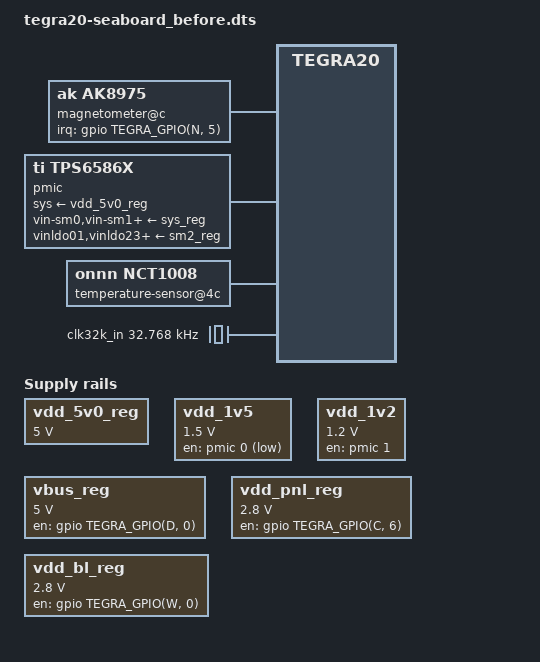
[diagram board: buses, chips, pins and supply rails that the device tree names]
	i2c@7000d000 {
		status = "okay";
		clock-frequency = <400000>;

		magnetometer@c {
			compatible = "ak,ak8975";
			reg = <0xc>;
			interrupt-parent = <&gpio>;
			interrupts = <TEGRA_GPIO(N, 5) IRQ_TYPE_LEVEL_HIGH>;
		};

		pmic: tps6586x@34 {
			compatible = "ti,tps6586x";
			reg = <0x34>;
			interrupts = <GIC_SPI 86 IRQ_TYPE_LEVEL_HIGH>;

			ti,system-power-controller;

			#gpio-cells = <2>;
			gpio-controller;

			sys-supply = <&vdd_5v0_reg>;
			vin-sm0-supply = <&sys_reg>;
			vin-sm1-supply = <&sys_reg>;
			vin-sm2-supply = <&sys_reg>;
			vinldo01-supply = <&sm2_reg>;
			vinldo23-supply = <&sm2_reg>;
			vinldo4-supply = <&sm2_reg>;
			vinldo678-supply = <&sm2_reg>;
			vinldo9-supply = <&sm2_reg>;

			regulators {
				sys_reg: sys {
					regulator-name = "vdd_sys";
					regulator-always-on;
				};

				sm0 {
					regulator-name = "vdd_sm0,vdd_core";
					regulator-min-microvolt = <1300000>;
					regulator-max-microvolt = <1300000>;
					regulator-always-on;
				};

				sm1 {
					regulator-name = "vdd_sm1,vdd_cpu";
					regulator-min-microvolt = <1125000>;
					regulator-max-microvolt = <1125000>;
					regulator-always-on;
				};

				sm2_reg: sm2 {
					regulator-name = "vdd_sm2,vin_ldo*";
					regulator-min-microvolt = <3700000>;
					regulator-max-microvolt = <3700000>;
					regulator-always-on;
				};

				/* LDO0 is not connected to anything */

				ldo1 {
					regulator-name = "vdd_ldo1,avdd_pll*";
					regulator-min-microvolt = <1100000>;
					regulator-max-microvolt = <1100000>;
					regulator-always-on;
				};

				ldo2 {
					regulator-name = "vdd_ldo2,vdd_rtc";
					regulator-min-microvolt = <1200000>;
					regulator-max-microvolt = <1200000>;
				};

				ldo3 {
					regulator-name = "vdd_ldo3,avdd_usb*";
					regulator-min-microvolt = <3300000>;
					regulator-max-microvolt = <3300000>;
					regulator-always-on;
				};

				ldo4 {
					regulator-name = "vdd_ldo4,avdd_osc,vddio_sys";
					regulator-min-microvolt = <1800000>;
					regulator-max-microvolt = <1800000>;
					regulator-always-on;
				};

				ldo5 {
					regulator-name = "vdd_ldo5,vcore_mmc";
					regulator-min-microvolt = <2850000>;
					regulator-max-microvolt = <2850000>;
					regulator-always-on;
				};

				ldo6 {
					regulator-name = "vdd_ldo6,avdd_vdac,vddio_vi,vddio_cam";
					regulator-min-microvolt = <1800000>;
					regulator-max-microvolt = <1800000>;
				};

				hdmi_vdd_reg: ldo7 {
					regulator-name = "vdd_ldo7,avdd_hdmi,vdd_fuse";
					regulator-min-microvolt = <3300000>;
					regulator-max-microvolt = <3300000>;
				};

				hdmi_pll_reg: ldo8 {
					regulator-name = "vdd_ldo8,avdd_hdmi_pll";
					regulator-min-microvolt = <1800000>;
					regulator-max-microvolt = <1800000>;
				};

				ldo9 {
					regulator-name = "vdd_ldo9,avdd_2v85,vdd_ddr_rx";
					regulator-min-microvolt = <2850000>;
					regulator-max-microvolt = <2850000>;
					regulator-always-on;
				};

				ldo_rtc {
					regulator-name = "vdd_rtc_out,vdd_cell";
					regulator-min-microvolt = <3300000>;
					regulator-max-microvolt = <3300000>;
					regulator-always-on;
				};
			};
		};

		temperature-sensor@4c {
			compatible = "onnn,nct1008";
			reg = <0x4c>;
		};
	};

	kbc@7000e200 {
		status = "okay";
		nvidia,debounce-delay-ms = <32>;
		nvidia,repeat-delay-ms = <160>;
		nvidia,ghost-filter;
		nvidia,kbc-row-pins = <0 1 2 3 4 5 6 7 8 9 10 11 12 13 14 15>;
		nvidia,kbc-col-pins = <16 17 18 19 20 21 22 23>;
		linux,keymap = <MATRIX_KEY(0x00, 0x02, KEY_W)
				MATRIX_KEY(0x00, 0x03, KEY_S)
				MATRIX_KEY(0x00, 0x04, KEY_A)
				MATRIX_KEY(0x00, 0x05, KEY_Z)
				MATRIX_KEY(0x00, 0x07, KEY_FN)

				MATRIX_KEY(0x01, 0x07, KEY_LEFTMETA)
				MATRIX_KEY(0x02, 0x06, KEY_RIGHTALT)
				MATRIX_KEY(0x02, 0x07, KEY_LEFTALT)

				MATRIX_KEY(0x03, 0x00, KEY_5)
				MATRIX_KEY(0x03, 0x01, KEY_4)
				MATRIX_KEY(0x03, 0x02, KEY_R)
				MATRIX_KEY(0x03, 0x03, KEY_E)
				MATRIX_KEY(0x03, 0x04, KEY_F)
				MATRIX_KEY(0x03, 0x05, KEY_D)
				MATRIX_KEY(0x03, 0x06, KEY_X)

				MATRIX_KEY(0x04, 0x00, KEY_7)
				MATRIX_KEY(0x04, 0x01, KEY_6)
				MATRIX_KEY(0x04, 0x02, KEY_T)
				MATRIX_KEY(0x04, 0x03, KEY_H)
				MATRIX_KEY(0x04, 0x04, KEY_G)
				MATRIX_KEY(0x04, 0x05, KEY_V)
				MATRIX_KEY(0x04, 0x06, KEY_C)
				MATRIX_KEY(0x04, 0x07, KEY_SPACE)

				MATRIX_KEY(0x05, 0x00, KEY_9)
				MATRIX_KEY(0x05, 0x01, KEY_8)
				MATRIX_KEY(0x05, 0x02, KEY_U)
				MATRIX_KEY(0x05, 0x03, KEY_Y)
				MATRIX_KEY(0x05, 0x04, KEY_J)
				MATRIX_KEY(0x05, 0x05, KEY_N)
				MATRIX_KEY(0x05, 0x06, KEY_B)
				MATRIX_KEY(0x05, 0x07, KEY_BACKSLASH)

				MATRIX_KEY(0x06, 0x00, KEY_MINUS)
				MATRIX_KEY(0x06, 0x01, KEY_0)
				MATRIX_KEY(0x06, 0x02, KEY_O)
				MATRIX_KEY(0x06, 0x03, KEY_I)
				MATRIX_KEY(0x06, 0x04, KEY_L)
				MATRIX_KEY(0x06, 0x05, KEY_K)
				MATRIX_KEY(0x06, 0x06, KEY_COMMA)
				MATRIX_KEY(0x06, 0x07, KEY_M)

				MATRIX_KEY(0x07, 0x01, KEY_EQUAL)
				MATRIX_KEY(0x07, 0x02, KEY_RIGHTBRACE)
				MATRIX_KEY(0x07, 0x03, KEY_ENTER)
				MATRIX_KEY(0x07, 0x07, KEY_MENU)

				MATRIX_KEY(0x08, 0x04, KEY_RIGHTSHIFT)
				MATRIX_KEY(0x08, 0x05, KEY_LEFTSHIFT)

				MATRIX_KEY(0x09, 0x05, KEY_RIGHTCTRL)
				MATRIX_KEY(0x09, 0x07, KEY_LEFTCTRL)

				MATRIX_KEY(0x0B, 0x00, KEY_LEFTBRACE)
				MATRIX_KEY(0x0B, 0x01, KEY_P)
				MATRIX_KEY(0x0B, 0x02, KEY_APOSTROPHE)
				MATRIX_KEY(0x0B, 0x03, KEY_SEMICOLON)
				MATRIX_KEY(0x0B, 0x04, KEY_SLASH)
				MATRIX_KEY(0x0B, 0x05, KEY_DOT)

				MATRIX_KEY(0x0C, 0x00, KEY_F10)
				MATRIX_KEY(0x0C, 0x01, KEY_F9)
				MATRIX_KEY(0x0C, 0x02, KEY_BACKSPACE)
				MATRIX_KEY(0x0C, 0x03, KEY_3)
				MATRIX_KEY(0x0C, 0x04, KEY_2)
				MATRIX_KEY(0x0C, 0x05, KEY_UP)
				MATRIX_KEY(0x0C, 0x06, KEY_PRINT)
				MATRIX_KEY(0x0C, 0x07, KEY_PAUSE)

				MATRIX_KEY(0x0D, 0x00, KEY_INSERT)
				MATRIX_KEY(0x0D, 0x01, KEY_DELETE)
				MATRIX_KEY(0x0D, 0x03, KEY_PAGEUP )
				MATRIX_KEY(0x0D, 0x04, KEY_PAGEDOWN)
				MATRIX_KEY(0x0D, 0x05, KEY_RIGHT)
				MATRIX_KEY(0x0D, 0x06, KEY_DOWN)
				MATRIX_KEY(0x0D, 0x07, KEY_LEFT)

				MATRIX_KEY(0x0E, 0x00, KEY_F11)
				MATRIX_KEY(0x0E, 0x01, KEY_F12)
				MATRIX_KEY(0x0E, 0x02, KEY_F8)
				MATRIX_KEY(0x0E, 0x03, KEY_Q)
				MATRIX_KEY(0x0E, 0x04, KEY_F4)
				MATRIX_KEY(0x0E, 0x05, KEY_F3)
				MATRIX_KEY(0x0E, 0x06, KEY_1)
				MATRIX_KEY(0x0E, 0x07, KEY_F7)

				MATRIX_KEY(0x0F, 0x00, KEY_ESC)
				MATRIX_KEY(0x0F, 0x01, KEY_GRAVE)
				MATRIX_KEY(0x0F, 0x02, KEY_F5)
				MATRIX_KEY(0x0F, 0x03, KEY_TAB)
				MATRIX_KEY(0x0F, 0x04, KEY_F1)
				MATRIX_KEY(0x0F, 0x05, KEY_F2)
				MATRIX_KEY(0x0F, 0x06, KEY_CAPSLOCK)
				MATRIX_KEY(0x0F, 0x07, KEY_F6)

				/* Software Handled Function Keys */
				MATRIX_KEY(0x14, 0x00, KEY_KP7)

				MATRIX_KEY(0x15, 0x00, KEY_KP9)
				MATRIX_KEY(0x15, 0x01, KEY_KP8)
				MATRIX_KEY(0x15, 0x02, KEY_KP4)
				MATRIX_KEY(0x15, 0x04, KEY_KP1)

				MATRIX_KEY(0x16, 0x01, KEY_KPSLASH)
				MATRIX_KEY(0x16, 0x02, KEY_KP6)
				MATRIX_KEY(0x16, 0x03, KEY_KP5)
				MATRIX_KEY(0x16, 0x04, KEY_KP3)
				MATRIX_KEY(0x16, 0x05, KEY_KP2)
				MATRIX_KEY(0x16, 0x07, KEY_KP0)

				MATRIX_KEY(0x1B, 0x01, KEY_KPASTERISK)
				MATRIX_KEY(0x1B, 0x03, KEY_KPMINUS)
				MATRIX_KEY(0x1B, 0x04, KEY_KPPLUS)
				MATRIX_KEY(0x1B, 0x05, KEY_KPDOT)

				MATRIX_KEY(0x1C, 0x05, KEY_VOLUMEUP)

				MATRIX_KEY(0x1D, 0x03, KEY_HOME)
				MATRIX_KEY(0x1D, 0x04, KEY_END)
				MATRIX_KEY(0x1D, 0x05, KEY_BRIGHTNESSDOWN)
				MATRIX_KEY(0x1D, 0x06, KEY_VOLUMEDOWN)
				MATRIX_KEY(0x1D, 0x07, KEY_BRIGHTNESSUP)

				MATRIX_KEY(0x1E, 0x00, KEY_NUMLOCK)
				MATRIX_KEY(0x1E, 0x01, KEY_SCROLLLOCK)
				MATRIX_KEY(0x1E, 0x02, KEY_MUTE)

				MATRIX_KEY(0x1F, 0x04, KEY_HELP)>;
	};

	pmc@7000e400 {
		nvidia,invert-interrupt;
		nvidia,suspend-mode = <1>;
		nvidia,cpu-pwr-good-time = <5000>;
		nvidia,cpu-pwr-off-time = <5000>;
		nvidia,core-pwr-good-time = <3845 3845>;
		nvidia,core-pwr-off-time = <3875>;
		nvidia,sys-clock-req-active-high;
	};

	memory-controller@7000f400 {
		emc-table@190000 {
			reg = <190000>;
			compatible = "nvidia,tegra20-emc-table";
			clock-frequency = <190000>;
			nvidia,emc-registers = <0x0000000c 0x00000026
				0x00000009 0x00000003 0x00000004 0x00000004
				0x00000002 0x0000000c 0x00000003 0x00000003
				0x00000002 0x00000001 0x00000004 0x00000005
				0x00000004 0x00000009 0x0000000d 0x0000059f
				0x00000000 0x00000003 0x00000003 0x00000003
				0x00000003 0x00000001 0x0000000b 0x000000c8
				0x00000003 0x00000007 0x00000004 0x0000000f
				0x00000002 0x00000000 0x00000000 0x00000002
				0x00000000 0x00000000 0x00000083 0xa06204ae
				0x007dc010 0x00000000 0x00000000 0x00000000
				0x00000000 0x00000000 0x00000000 0x00000000>;
		};

		emc-table@380000 {
			reg = <380000>;
			compatible = "nvidia,tegra20-emc-table";
			clock-frequency = <380000>;
			nvidia,emc-registers = <0x00000017 0x0000004b
				0x00000012 0x00000006 0x00000004 0x00000005
				0x00000003 0x0000000c 0x00000006 0x00000006
				0x00000003 0x00000001 0x00000004 0x00000005
				0x00000004 0x00000009 0x0000000d 0x00000b5f
				0x00000000 0x00000003 0x00000003 0x00000006
				0x00000006 0x00000001 0x00000011 0x000000c8
				0x00000003 0x0000000e 0x00000007 0x0000000f
				0x00000002 0x00000000 0x00000000 0x00000002
				0x00000000 0x00000000 0x00000083 0xe044048b
				0x007d8010 0x00000000 0x00000000 0x00000000
				0x00000000 0x00000000 0x00000000 0x00000000>;
		};
	};

	usb@c5000000 {
		status = "okay";
		dr_mode = "otg";
	};

	usb-phy@c5000000 {
		status = "okay";
		vbus-supply = <&vbus_reg>;
		dr_mode = "otg";
	};

	usb@c5004000 {
		status = "okay";
		nvidia,phy-reset-gpio = <&gpio TEGRA_GPIO(V, 1)
			GPIO_ACTIVE_LOW>;
	};

	usb-phy@c5004000 {
		status = "okay";
		nvidia,phy-reset-gpio = <&gpio TEGRA_GPIO(V, 1)
			GPIO_ACTIVE_LOW>;
	};

	usb@c5008000 {
		status = "okay";
	};

	usb-phy@c5008000 {
		status = "okay";
	};

	sdhci@c8000000 {
		status = "okay";
		power-gpios = <&gpio TEGRA_GPIO(K, 6) GPIO_ACTIVE_HIGH>;
		bus-width = <4>;
		keep-power-in-suspend;
	};

	sdhci@c8000400 {
		status = "okay";
		cd-gpios = <&gpio TEGRA_GPIO(I, 5) GPIO_ACTIVE_LOW>;
		wp-gpios = <&gpio TEGRA_GPIO(H, 1) GPIO_ACTIVE_HIGH>;
		power-gpios = <&gpio TEGRA_GPIO(I, 6) GPIO_ACTIVE_HIGH>;
		bus-width = <4>;
	};

	sdhci@c8000600 {
		status = "okay";
		bus-width = <8>;
		non-removable;
	};

	backlight: backlight {
		compatible = "pwm-backlight";

		enable-gpios = <&gpio TEGRA_GPIO(D, 4) GPIO_ACTIVE_HIGH>;
		power-supply = <&vdd_bl_reg>;
		pwms = <&pwm 2 5000000>;

		brightness-levels = <0 4 8 16 32 64 128 255>;
		default-brightness-level = <6>;
	};

	clocks {
		compatible = "simple-bus";
		#address-cells = <1>;
		#size-cells = <0>;

		clk32k_in: clock@0 {
			compatible = "fixed-clock";
			reg=<0>;
			#clock-cells = <0>;
			clock-frequency = <32768>;
		};
	};

	gpio-keys {
		compatible = "gpio-keys";

		power {
			label = "Power";
			gpios = <&gpio TEGRA_GPIO(V, 2) GPIO_ACTIVE_LOW>;
			linux,code = <KEY_POWER>;
			gpio-key,wakeup;
		};

		lid {
			label = "Lid";
			gpios = <&gpio TEGRA_GPIO(C, 7) GPIO_ACTIVE_HIGH>;
			linux,input-type = <5>; /* EV_SW */
			linux,code = <0>; /* SW_LID */
			debounce-interval = <1>;
			gpio-key,wakeup;
		};
	};

	panel: panel {
		compatible = "chunghwa,claa101wa01a", "simple-panel";

		power-supply = <&vdd_pnl_reg>;
		enable-gpios = <&gpio TEGRA_GPIO(B, 2) GPIO_ACTIVE_HIGH>;

		backlight = <&backlight>;
		ddc-i2c-bus = <&lvds_ddc>;
	};

	regulators {
		compatible = "simple-bus";
		#address-cells = <1>;
		#size-cells = <0>;

		vdd_5v0_reg: regulator@0 {
			compatible = "regulator-fixed";
			reg = <0>;
			regulator-name = "vdd_5v0";
			regulator-min-microvolt = <5000000>;
			regulator-max-microvolt = <5000000>;
			regulator-always-on;
		};

		regulator@1 {
			compatible = "regulator-fixed";
			reg = <1>;
			regulator-name = "vdd_1v5";
			regulator-min-microvolt = <1500000>;
			regulator-max-microvolt = <1500000>;
			gpio = <&pmic 0 GPIO_ACTIVE_HIGH>;
		};

		regulator@2 {
			compatible = "regulator-fixed";
			reg = <2>;
			regulator-name = "vdd_1v2";
			regulator-min-microvolt = <1200000>;
			regulator-max-microvolt = <1200000>;
			gpio = <&pmic 1 GPIO_ACTIVE_HIGH>;
			enable-active-high;
		};

		vbus_reg: regulator@3 {
			compatible = "regulator-fixed";
			reg = <3>;
			regulator-name = "vdd_vbus_wup1";
			regulator-min-microvolt = <5000000>;
			regulator-max-microvolt = <5000000>;
			enable-active-high;
			gpio = <&gpio TEGRA_GPIO(D, 0) 0>;
			regulator-always-on;
			regulator-boot-on;
		};

		vdd_pnl_reg: regulator@4 {
			compatible = "regulator-fixed";
			reg = <4>;
			regulator-name = "vdd_pnl";
			regulator-min-microvolt = <2800000>;
			regulator-max-microvolt = <2800000>;
			gpio = <&gpio TEGRA_GPIO(C, 6) GPIO_ACTIVE_HIGH>;
			enable-active-high;
		};

		vdd_bl_reg: regulator@5 {
			compatible = "regulator-fixed";
			reg = <5>;
			regulator-name = "vdd_bl";
			regulator-min-microvolt = <2800000>;
			regulator-max-microvolt = <2800000>;
			gpio = <&gpio TEGRA_GPIO(W, 0) GPIO_ACTIVE_HIGH>;
			enable-active-high;
		};
	};

	sound {
		compatible = "nvidia,tegra-audio-wm8903-seaboard",
			     "nvidia,tegra-audio-wm8903";
		nvidia,model = "NVIDIA Tegra Seaboard";

		nvidia,audio-routing =
			"Headphone Jack", "HPOUTR",
			"Headphone Jack", "HPOUTL",
			"Int Spk", "ROP",
			"Int Spk", "RON",
			"Int Spk", "LOP",
			"Int Spk", "LON",
			"Mic Jack", "MICBIAS",
			"IN1R", "Mic Jack";

		nvidia,i2s-controller = <&tegra_i2s1>;
		nvidia,audio-codec = <&wm8903>;

		nvidia,spkr-en-gpios = <&wm8903 2 GPIO_ACTIVE_HIGH>;
		nvidia,hp-det-gpios = <&gpio TEGRA_GPIO(X, 1) GPIO_ACTIVE_HIGH>;

		clocks = <&tegra_car TEGRA20_CLK_PLL_A>,
			 <&tegra_car TEGRA20_CLK_PLL_A_OUT0>,
			 <&tegra_car TEGRA20_CLK_CDEV1>;
		clock-names = "pll_a", "pll_a_out0", "mclk";
	};
};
